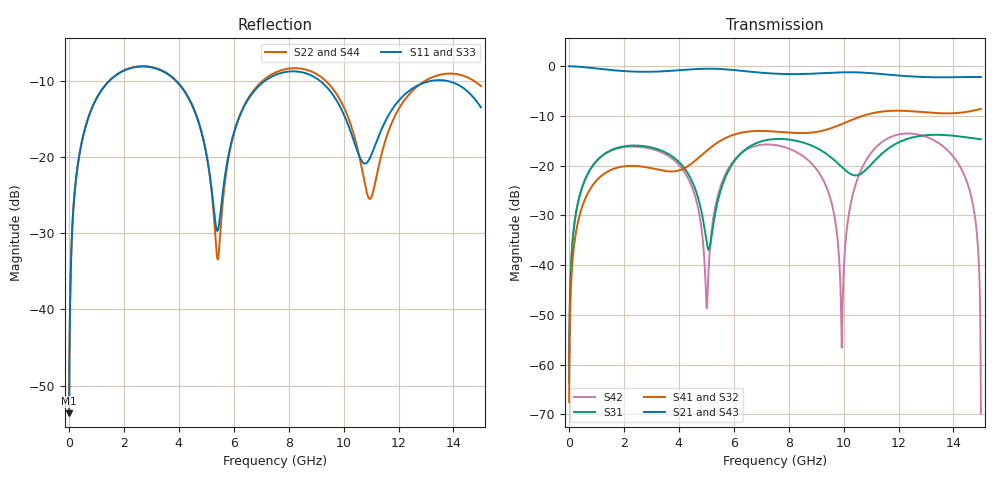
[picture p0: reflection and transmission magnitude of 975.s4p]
! Created with skrf 1.8.0 (http://scikit-rf.org).
# GHz S RI R 50.0
!freq ReS11 ImS11 ReS12 ImS12 ReS13 ImS13
! ReS14 ImS14
! ReS21 ImS21 ReS22 ImS22 ReS23 ImS23
! ReS24 ImS24
! ReS31 ImS31 ReS32 ImS32 ReS33 ImS33
! ReS34 ImS34
! ReS41 ImS41 ReS42 ImS42 ReS43 ImS43
! ReS44 ImS44
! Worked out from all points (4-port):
!   2499 points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, 5 MHz to 15 GHz, reference 50 ohm
!   strongest paths, dB at 5 MHz, 3.476 GHz, 7.19 GHz, 11.1 GHz, 15 GHz:
!     S21: 0.0, -1.0, -1.4, -1.5, -2.2
!     S43: 0.0, -1.0, -1.4, -1.5, -2.2
!     S41: -67.5, -21.1, -13.1, -9.4, -8.6
!     S32: -67.5, -21.1, -13.1, -9.4, -8.6
!     S31: -63.6, -17.3, -14.9, -19.2, -14.7
!     S42: -63.6, -17.6, -15.8, -16.8, -69.8
!   lowest |S11| = -53.6 dB at 5 MHz (marker M1), VSWR 1.00, Z = 50.2 + j0.126 ohm
!   |S11| at or under -10 dB: start of sweep to 1.475 GHz; 3.888 GHz to 7.142 GHz (3.254 GHz wide, 59 % of centre); 9.134 GHz to 13.23 GHz (4.092 GHz wide, 36.6 % of centre) (the widest 3 of 4)
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0.005  0.00166 0.00126  0.9983 -0.00323  8.34e-05 0.000658  -8.1e-05 -0.000412
       0.9983 -0.00323  0.00166 0.00126  -8.09e-05 -0.000412  8.33e-05 0.000658
       8.34e-05 0.000658  -8.09e-05 -0.000412  0.00166 0.00126  0.9983 -0.00323
       -8.1e-05 -0.000412  8.33e-05 0.000658  0.9983 -0.00323  0.00166 0.00126
1.619545  0.2857 0.1722  0.5122 -0.7504  0.1367 0.0519  -0.0926 7.63e-05
          0.5122 -0.7504  0.2879 0.1706  -0.0925 -5.81e-05  0.1308 0.0606
          0.1367 0.0519  -0.0925 -5.81e-05  0.2858 0.1722  0.5122 -0.7504
          -0.0926 7.63e-05  0.1308 0.0606  0.5122 -0.7504  0.2878 0.1707
5.370988  0.0326 -0.00814  -0.935 -0.0858  -0.00343 0.0381  -0.00979 0.1671
          -0.935 -0.0858  0.0211 -0.0116  -0.0121 0.167  0.00895 0.0428
          -0.00343 0.0381  -0.0121 0.167  0.0308 -0.00847  -0.935 -0.0856
          -0.00979 0.1671  0.00895 0.0428  -0.935 -0.0856  0.0231 -0.0118
9.93539  0.1605 -0.1241  0.659 0.5605  -0.0667 -0.07  0.1612 -0.2059
         0.659 0.5605  0.1525 -0.1665  0.1665 -0.2017  -0.00144 -0.000346
         -0.0667 -0.07  0.1665 -0.2017  0.1589 -0.1268  0.6592 0.5598
         0.1612 -0.2059  -0.00144 -0.000346  0.6592 0.5598  0.1549 -0.1663
12.41142  0.2536 0.1024  0.5891 -0.5246  0.1855 0.0353  -0.2816 -0.2123
          0.5891 -0.5246  0.2239 0.1329  -0.2757 -0.2196  0.2021 0.0574
          0.1855 0.0353  -0.2757 -0.2196  0.2524 0.1073  0.5875 -0.5259
          -0.2816 -0.2123  0.2021 0.0574  0.5875 -0.5259  0.2274 0.128
14.53731  0.2532 -0.0843  -0.2345 -0.7407  -0.0203 -0.19  -0.3211 0.1359
          -0.2345 -0.7407  0.3153 -0.1012  -0.3255 0.1246  0.0405 -0.0483
          -0.0203 -0.19  -0.3255 0.1246  0.2551 -0.0848  -0.2367 -0.7392
          -0.3211 0.1359  0.0405 -0.0483  -0.2367 -0.7392  0.3155 -0.1058
15  0.1943 -0.0834  -0.424 -0.6523  -0.1077 -0.1492  -0.3036 0.2144
    -0.424 -0.6523  0.2592 -0.134  -0.3114 0.2036  -0.000121 0.0003
    -0.1077 -0.1492  -0.3114 0.2036  0.1944 -0.0849  -0.4259 -0.6503
    -0.3036 0.2144  -0.000121 0.0003  -0.4259 -0.6503  0.2593 -0.138
